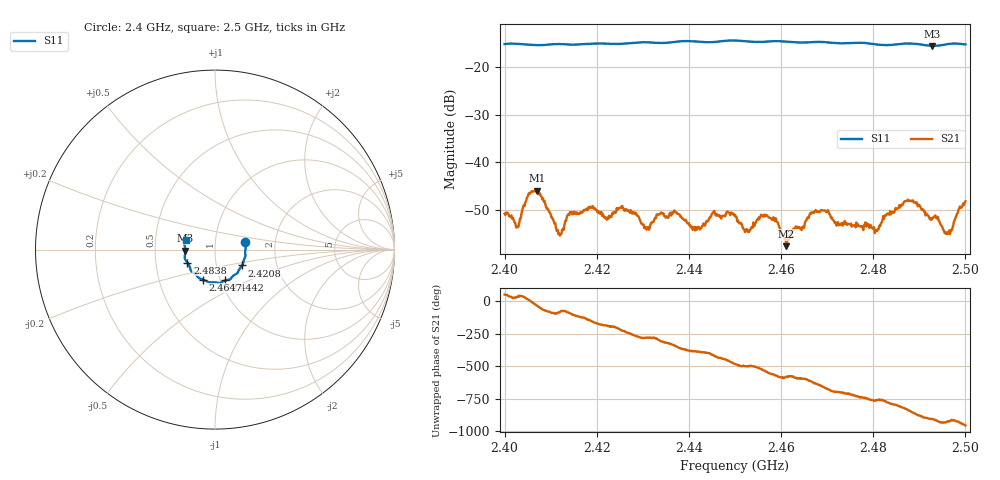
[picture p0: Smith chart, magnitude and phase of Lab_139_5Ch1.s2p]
# Hz S RI R 50
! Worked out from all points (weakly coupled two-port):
!   601 points, 2.4 GHz to 2.5 GHz, reference 50 ohm
!   highest |S21| = -45.91 dB at 2.407 GHz (marker M1); lowest = -57.5 dB at 2.4612 GHz (marker M2)
!   lowest |S11| = -15.6 dB at 2.4928 GHz (marker M3), VSWR 1.40, Z = 35.8 - j0.398 ohm
!   |S11| at or under -10 dB: start of sweep to end of sweep
!   S12 and S22 are empty: the file has one direction only
!   S11 on the Smith chart (normalised r, x): 2.4 GHz: 1.40, +0.12; 2.4208 GHz: 1.33, -0.24; 2.4442 GHz: 1.05, -0.37; 2.4647 GHz: 0.83, -0.29; 2.4838 GHz: 0.73, -0.11; 2.5 GHz: 0.72, +0.08
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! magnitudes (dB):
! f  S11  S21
! 2.4 GHz  -15.2  -50.7
! 2.4027 GHz  -15.2  -53.6
! 2.407 GHz  -15.4  -45.9
! 2.4118 GHz  -15.2  -54.8
! 2.4167 GHz  -15.3  -50.3
! 2.4208 GHz  -15.1  -50.7
! 2.4308 GHz  -14.8  -54.0
! 2.4333 GHz  -15.0  -51.0
! 2.4442 GHz  -14.9  -52.2
! 2.45 GHz  -14.5  -51.0
! 2.4527 GHz  -14.7  -54.0
! 2.4572 GHz  -14.7  -51.3
! 2.4612 GHz  -14.7  -57.5
! 2.4647 GHz  -14.9  -53.4
! 2.4667 GHz  -14.8  -50.4
! 2.4807 GHz  -15.3  -54.1
! 2.4833 GHz  -15.4  -50.8
! 2.4838 GHz  -15.4  -50.8
! 2.488 GHz  -15.1  -48.1
! 2.4928 GHz  -15.6  -51.6
! 2.4962 GHz  -15.3  -54.9
! 2.5 GHz  -15.3  -48.1
